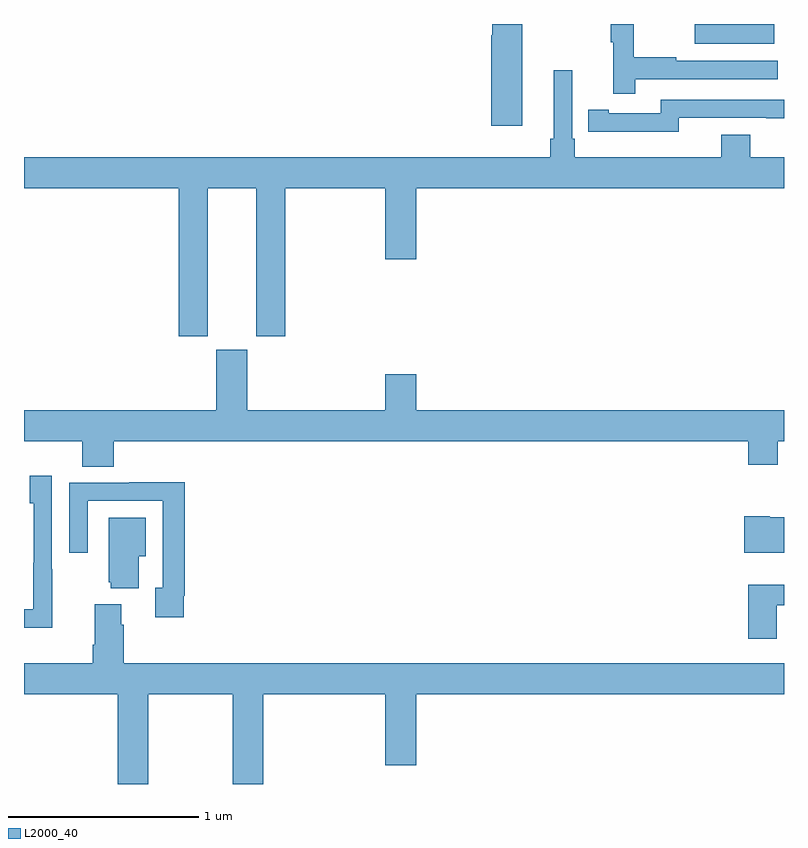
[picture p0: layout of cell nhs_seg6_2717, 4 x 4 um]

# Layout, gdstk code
import gdstk
lib = gdstk.Library(unit=1e-6, precision=1e-09)
def R(c, l, rs):  # rectangles x0, y0, x1, y1
    for r in rs: c.add(gdstk.rectangle(r[:2], r[2:], *l))
def P(c, l, *ps):  # polygons
    for p in ps: c.add(gdstk.Polygon(p, *l))
L2000_40 = (2000, 40)

nhs_seg6_2717 = lib.new_cell('nhs_seg6_2717')
R(nhs_seg6_2717, L2000_40, [(274.529,981.395,274.948,981.5)])
P(nhs_seg6_2717, L2000_40, [(274.217,981.21),(274.966,981.21),(274.966,981.306),(274.433,981.306),(274.433,981.326),(274.21,981.326),(274.21,981.5),(274.089,981.5),(274.089,981.403),(274.1,981.403),(274.1,981.132),(274.217,981.132)],
  [(273.622,981.5),(273.464,981.5),(273.464,981.441),(273.458,981.441),(273.458,980.964),(273.622,980.964)],
  [(271,980.636),(271.814,980.636),(271.814,979.857),(271.966,979.857),(271.966,980.636),(272.222,980.636),(272.222,979.857),(272.375,979.857),(272.375,980.636),(272.9,980.636),(272.9,980.262),(273.064,980.262),(273.064,980.636),(275,980.636),(275,980.8),(274.823,980.8),(274.823,980.917),(274.67,980.917),(274.67,980.8),(273.899,980.8),(273.899,980.896),(273.885,980.896),(273.885,981.256),(273.788,981.256),(273.788,980.896),(273.769,980.896),(273.769,980.8),(271,980.8)],
  [(274.446,981.006),(274.906,981.006),(274.906,981.005),(275,981.005),(275,981.102),(274.35,981.102),(274.35,981.03),(274.078,981.03),(274.078,981.05),(273.97,981.05),(273.97,980.934),(274.078,980.934),(274.078,980.933),(274.446,980.933)],
  [(271.472,979.304),(274.811,979.304),(274.811,979.18),(274.967,979.18),(274.967,979.304),(275,979.304),(275,979.468),(273.064,979.468),(273.064,979.657),(272.9,979.657),(272.9,979.468),(272.176,979.468),(272.176,979.785),(272.012,979.785),(272.012,979.468),(271,979.468),(271,979.304),(271.307,979.304),(271.307,979.171),(271.472,979.171)],
  [(271.149,978.629),(271.146,978.629),(271.146,979.123),(271.031,979.123),(271.031,978.978),(271.05,978.978),(271.05,978.665),(271.049,978.665),(271.049,978.42),(271,978.42),(271,978.323),(271.149,978.323)],
  [(271.84,978.49),(271.847,978.49),(271.847,979.088),(271.555,979.088),(271.555,979.086),(271.239,979.086),(271.239,978.717),(271.335,978.717),(271.335,978.99),(271.731,978.99),(271.731,978.534),(271.691,978.534),(271.691,978.378),(271.84,978.378)],
  [(275,978.904),(274.926,978.904),(274.926,978.91),(274.79,978.91),(274.79,978.716),(275,978.716)],
  [(271.603,978.698),(271.642,978.698),(271.642,978.901),(271.445,978.901),(271.445,978.561),(271.457,978.561),(271.457,978.53),(271.603,978.53)],
  [(274.963,978.441),(275,978.441),(275,978.55),(274.811,978.55),(274.811,978.264),(274.963,978.264)],
  [(271.653,977.972),(272.098,977.972),(272.098,977.5),(272.258,977.5),(272.258,977.972),(272.9,977.972),(272.9,977.598),(273.064,977.598),(273.064,977.972),(275,977.972),(275,978.136),(271.526,978.136),(271.526,978.338),(271.513,978.338),(271.513,978.445),(271.373,978.445),(271.373,978.232),(271.361,978.232),(271.361,978.136),(271,978.136),(271,977.972),(271.493,977.972),(271.493,977.5),(271.653,977.5)])

lib.write_gds('nhs_seg6_2717.gds')
